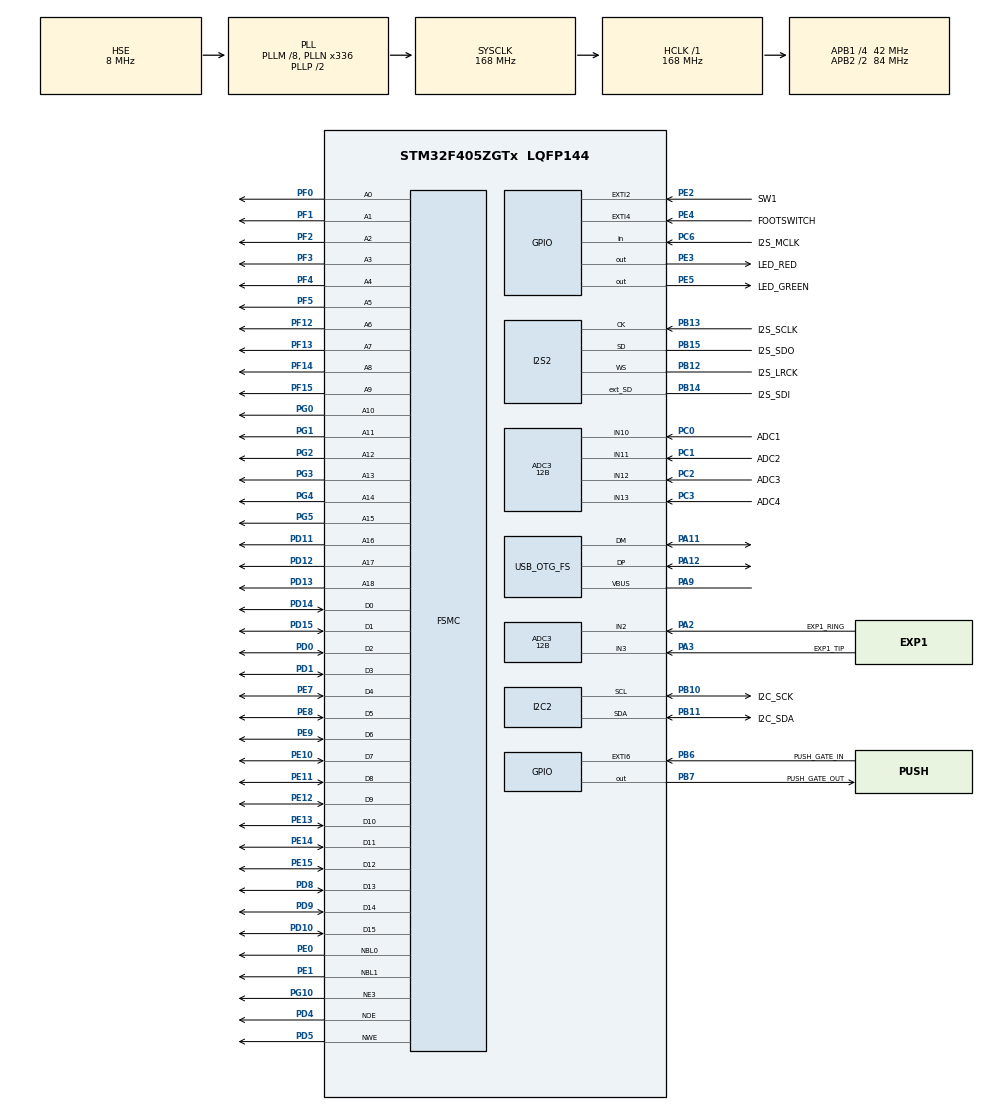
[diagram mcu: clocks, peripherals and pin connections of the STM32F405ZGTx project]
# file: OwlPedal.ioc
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ADC3.Channel-92\#ChannelRegularConversion=ADC_CHANNEL_10
ADC3.Channel-93\#ChannelRegularConversion=ADC_CHANNEL_11
ADC3.Channel-94\#ChannelRegularConversion=ADC_CHANNEL_12
ADC3.Channel-95\#ChannelRegularConversion=ADC_CHANNEL_13
ADC3.Channel-96\#ChannelRegularConversion=ADC_CHANNEL_2
ADC3.Channel-97\#ChannelRegularConversion=ADC_CHANNEL_3
ADC3.ClockPrescaler=ADC_CLOCK_SYNC_PCLK_DIV8
ADC3.ContinuousConvMode=ENABLE
ADC3.DMAContinuousRequests=ENABLE
ADC3.DataAlign=ADC_DATAALIGN_RIGHT
ADC3.DiscontinuousConvMode=DISABLE
ADC3.EOCSelection=ADC_EOC_SEQ_CONV
ADC3.EnableAnalogWatchDog=false
ADC3.ExternalTrigConv=ADC_SOFTWARE_START
ADC3.ExternalTrigConvEdge=ADC_EXTERNALTRIGCONVEDGE_NONE
ADC3.InjNumberOfConversion=0
ADC3.NbrOfConversion=6
ADC3.NbrOfConversionFlag=1
ADC3.Rank-92\#ChannelRegularConversion=1
ADC3.Rank-93\#ChannelRegularConversion=2
ADC3.Rank-94\#ChannelRegularConversion=3
ADC3.Rank-95\#ChannelRegularConversion=4
ADC3.Rank-96\#ChannelRegularConversion=5
ADC3.Rank-97\#ChannelRegularConversion=6
ADC3.Resolution=ADC_RESOLUTION_12B
ADC3.SamplingTime-92\#ChannelRegularConversion=ADC_SAMPLETIME_144CYCLES
ADC3.SamplingTime-93\#ChannelRegularConversion=ADC_SAMPLETIME_144CYCLES
ADC3.SamplingTime-94\#ChannelRegularConversion=ADC_SAMPLETIME_144CYCLES
ADC3.SamplingTime-95\#ChannelRegularConversion=ADC_SAMPLETIME_144CYCLES
ADC3.SamplingTime-96\#ChannelRegularConversion=ADC_SAMPLETIME_144CYCLES
ADC3.SamplingTime-97\#ChannelRegularConversion=ADC_SAMPLETIME_144CYCLES
ADC3.ScanConvMode=ENABLE
Dma.ADC3.2.Direction=DMA_PERIPH_TO_MEMORY
Dma.ADC3.2.FIFOMode=DMA_FIFOMODE_DISABLE
Dma.ADC3.2.Instance=DMA2_Stream0
Dma.ADC3.2.MemDataAlignment=DMA_MDATAALIGN_HALFWORD
Dma.ADC3.2.MemInc=DMA_MINC_ENABLE
Dma.ADC3.2.Mode=DMA_CIRCULAR
Dma.ADC3.2.PeriphDataAlignment=DMA_PDATAALIGN_HALFWORD
Dma.ADC3.2.PeriphInc=DMA_PINC_DISABLE
Dma.ADC3.2.Priority=DMA_PRIORITY_LOW
Dma.I2S2_EXT_RX.1.Direction=DMA_PERIPH_TO_MEMORY
Dma.I2S2_EXT_RX.1.FIFOMode=DMA_FIFOMODE_DISABLE
Dma.I2S2_EXT_RX.1.Instance=DMA1_Stream3
Dma.I2S2_EXT_RX.1.MemDataAlignment=DMA_MDATAALIGN_HALFWORD
Dma.I2S2_EXT_RX.1.MemInc=DMA_MINC_ENABLE
Dma.I2S2_EXT_RX.1.Mode=DMA_CIRCULAR
Dma.I2S2_EXT_RX.1.PeriphDataAlignment=DMA_PDATAALIGN_HALFWORD
Dma.I2S2_EXT_RX.1.PeriphInc=DMA_PINC_DISABLE
Dma.I2S2_EXT_RX.1.Priority=DMA_PRIORITY_HIGH
Dma.Request0=SPI2_TX
Dma.Request1=I2S2_EXT_RX
Dma.Request2=ADC3
Dma.SPI2_TX.0.Direction=DMA_MEMORY_TO_PERIPH
Dma.SPI2_TX.0.FIFOMode=DMA_FIFOMODE_DISABLE
Dma.SPI2_TX.0.Instance=DMA1_Stream4
Dma.SPI2_TX.0.MemDataAlignment=DMA_MDATAALIGN_HALFWORD
Dma.SPI2_TX.0.MemInc=DMA_MINC_ENABLE
Dma.SPI2_TX.0.Mode=DMA_CIRCULAR
Dma.SPI2_TX.0.PeriphDataAlignment=DMA_PDATAALIGN_HALFWORD
Dma.SPI2_TX.0.PeriphInc=DMA_PINC_DISABLE
Dma.SPI2_TX.0.Priority=DMA_PRIORITY_HIGH
FREERTOS.INCLUDE_vTaskDelayUntil=1
FREERTOS.MEMORY_ALLOCATION=2
FREERTOS.Tasks01=defaultTask,0,512,StartDefaultTask,Default,NULL,Dynamic,NULL,NULL
FREERTOS.configCHECK_FOR_STACK_OVERFLOW=1
FREERTOS.configENABLE_BACKWARD_COMPATIBILITY=0
FREERTOS.configTOTAL_HEAP_SIZE=4096
FREERTOS.configUSE_MALLOC_FAILED_HOOK=1
FREERTOS.configUSE_MUTEXES=0
FREERTOS.configUSE_PREEMPTION=0
FSMC.AddressSetupTime1=2
FSMC.BusTurnAroundDuration1=1
FSMC.DataSetupTime1=2
FSMC.ExtendedMode1=FSMC_EXTENDED_MODE_DISABLE
FSMC.WriteOperation1=FSMC_WRITE_OPERATION_ENABLE
I2S2.AudioFreq=I2S_AUDIOFREQ_48K
I2S2.DataFormat=I2S_DATAFORMAT_24B
I2S2.ErrorAudioFreq=-0.01 %
I2S2.FullDuplexMode=I2S_FULLDUPLEXMODE_ENABLE
I2S2.Instance=SPI$Index
I2S2.RealAudioFreq=47.991 KHz
I2S2.VirtualMode=I2S_MODE_SLAVE
Mcu.Family=STM32F4
Mcu.Name=STM32F405ZGTx
Mcu.Package=LQFP144
NVIC.DMA1_Stream3_IRQn=true\:8\:0\:true\:false\:true\:true\:true\:true
NVIC.DMA1_Stream4_IRQn=true\:8\:0\:true\:false\:true\:true\:true\:true
NVIC.DMA2_Stream0_IRQn=true\:5\:0\:false\:false\:true\:true\:true\:true
NVIC.EXTI2_IRQn=true\:10\:0\:true\:false\:true\:true\:true\:true
NVIC.EXTI4_IRQn=true\:5\:0\:false\:false\:true\:true\:true\:true
NVIC.EXTI9_5_IRQn=true\:5\:0\:false\:false\:true\:true\:true\:true
NVIC.OTG_FS_IRQn=true\:5\:0\:false\:false\:true\:true\:true\:true
NVIC.PriorityGroup=NVIC_PRIORITYGROUP_4
NVIC.SPI2_IRQn=true\:8\:0\:true\:false\:true\:true\:true\:true
PA11.Mode=Device_Only
PA11.Signal=USB_OTG_FS_DM
PA12.Mode=Device_Only
PA12.Signal=USB_OTG_FS_DP
PA13.Mode=Trace_Asynchronous_SW
PA13.Signal=SYS_JTMS-SWDIO
PA14.Mode=Trace_Asynchronous_SW
PA14.Signal=SYS_JTCK-SWCLK
PA2.GPIO_Label=EXP1_RING
PA2.Signal=ADCx_IN2
PA3.GPIO_Label=EXP1_TIP
PA3.Signal=ADCx_IN3
PA9.Mode=Activate_VBUS
PA9.Signal=USB_OTG_FS_VBUS
PB10.GPIO_Label=I2C_SCK
PB10.GPIO_Pu=GPIO_PULLUP
PB10.Mode=I2C
PB10.Signal=I2C2_SCL
PB11.GPIO_Label=I2C_SDA
PB11.GPIO_Pu=GPIO_PULLUP
PB11.Mode=I2C
PB11.Signal=I2C2_SDA
PB12.GPIO_Label=I2S_LRCK
PB12.Mode=Full_Duplex_Slave
PB12.Signal=I2S2_WS
PB13.GPIO_Label=I2S_SCLK
PB13.Mode=Full_Duplex_Slave
PB13.Signal=I2S2_CK
PB14.GPIO_Label=I2S_SDI
PB14.Mode=Full_Duplex_Slave
PB14.Signal=I2S2_ext_SD
PB15.GPIO_Label=I2S_SDO
PB15.Mode=Full_Duplex_Slave
PB15.Signal=I2S2_SD
PB3.Mode=Trace_Asynchronous_SW
PB3.Signal=SYS_JTDO-SWO
PB6.GPIO_Label=PUSH_GATE_IN
PB6.GPIO_ModeDefaultEXTI=GPIO_MODE_IT_RISING_FALLING
PB6.GPIO_PuPd=GPIO_PULLUP
PB6.Signal=GPXTI6
PB7.GPIO_Label=PUSH_GATE_OUT
PB7.PinState=GPIO_PIN_SET
PB7.Signal=GPIO_Output
PC0.GPIO_Label=ADC1
PC0.Signal=ADCx_IN10
PC1.GPIO_Label=ADC2
PC1.Signal=ADCx_IN11
PC2.GPIO_Label=ADC3
PC2.Signal=ADCx_IN12
PC3.GPIO_Label=ADC4
PC3.Signal=ADCx_IN13
PC6.GPIO_Label=I2S_MCLK
PC6.Signal=GPIO_Input
PD0.Signal=FSMC_D2_DA2
PD1.Signal=FSMC_D3_DA3
PD10.Signal=FSMC_D15_DA15
PD11.Signal=FSMC_A16_CLE
PD12.Signal=FSMC_A17_ALE
PD13.Signal=FSMC_A18
PD14.Signal=FSMC_D0_DA0
PD15.Signal=FSMC_D1_DA1
PD4.Signal=FSMC_NOE
PD5.Signal=FSMC_NWE
PD8.Signal=FSMC_D13_DA13
PD9.Signal=FSMC_D14_DA14
PE0.Signal=FSMC_NBL0
PE1.Signal=FSMC_NBL1
PE10.Signal=FSMC_D7_DA7
PE11.Signal=FSMC_D8_DA8
PE12.Signal=FSMC_D9_DA9
PE13.Signal=FSMC_D10_DA10
PE14.Signal=FSMC_D11_DA11
PE15.Signal=FSMC_D12_DA12
PE2.GPIO_Label=SW1
PE2.GPIO_ModeDefaultEXTI=GPIO_MODE_IT_RISING_FALLING
PE2.GPIO_PuPd=GPIO_PULLUP
PE2.Signal=GPXTI2
PE3.GPIO_Label=LED_RED
PE3.Signal=GPIO_Output
PE4.GPIO_Label=FOOTSWITCH
PE4.GPIO_ModeDefaultEXTI=GPIO_MODE_IT_RISING_FALLING
PE4.GPIO_PuPd=GPIO_PULLUP
PE4.Signal=GPXTI4
PE5.GPIO_Label=LED_GREEN
PE5.Signal=GPIO_Output
PE7.Signal=FSMC_D4_DA4
PE8.Signal=FSMC_D5_DA5
PE9.Signal=FSMC_D6_DA6
PF0.Signal=FSMC_A0
PF1.Signal=FSMC_A1
PF12.Signal=FSMC_A6
PF13.Signal=FSMC_A7
PF14.Signal=FSMC_A8
PF15.Signal=FSMC_A9
PF2.Signal=FSMC_A2
PF3.Signal=FSMC_A3
PF4.Signal=FSMC_A4
PF5.Signal=FSMC_A5
PG0.Signal=FSMC_A10
PG1.Signal=FSMC_A11
PG10.Mode=NorPsramChipSelect3_1
PG10.Signal=FSMC_NE3
PG2.Signal=FSMC_A12
PG3.Signal=FSMC_A13
PG4.Signal=FSMC_A14
PG5.Signal=FSMC_A15
PH0-OSC_IN.Mode=HSE-External-Oscillator
PH0-OSC_IN.Signal=RCC_OSC_IN
PH1-OSC_OUT.Mode=HSE-External-Oscillator
PH1-OSC_OUT.Signal=RCC_OSC_OUT
ProjectManager.HeapSize=0x200
ProjectManager.StackSize=0x400
ProjectManager.TargetToolchain=Makefile
RCC.48MHZClocksFreq_Value=48000000
RCC.AHBFreq_Value=168000000
RCC.APB1CLKDivider=RCC_HCLK_DIV4
RCC.APB1Freq_Value=42000000
RCC.APB1TimFreq_Value=84000000
RCC.APB2CLKDivider=RCC_HCLK_DIV2
RCC.APB2Freq_Value=84000000
RCC.APB2TimFreq_Value=168000000
RCC.CortexFreq_Value=168000000
RCC.HCLKFreq_Value=168000000
RCC.HSE_VALUE=8000000
RCC.HSI_VALUE=16000000
RCC.LSE_VALUE=32768
RCC.PLLI2SN=258
RCC.PLLI2SR=3
RCC.PLLM=8
RCC.PLLN=336
RCC.PLLQ=7
RCC.SYSCLKFreq_VALUE=168000000
RCC.SYSCLKSource=RCC_SYSCLKSOURCE_PLLCLK
RCC.VCOOutputFreq_Value=336000000
SH.ADCx_IN10.0=ADC3_IN10,IN10
SH.ADCx_IN11.0=ADC3_IN11,IN11
SH.ADCx_IN12.0=ADC3_IN12,IN12
SH.ADCx_IN13.0=ADC3_IN13,IN13
SH.ADCx_IN2.0=ADC3_IN2,IN2
SH.ADCx_IN3.0=ADC3_IN3,IN3
SH.FSMC_A0.0=FSMC_A0,19b-a1
SH.FSMC_A1.0=FSMC_A1,19b-a1
SH.FSMC_A10.0=FSMC_A10,19b-a1
SH.FSMC_A11.0=FSMC_A11,19b-a1
SH.FSMC_A12.0=FSMC_A12,19b-a1
SH.FSMC_A13.0=FSMC_A13,19b-a1
SH.FSMC_A14.0=FSMC_A14,19b-a1
SH.FSMC_A15.0=FSMC_A15,19b-a1
SH.FSMC_A16_CLE.0=FSMC_A16,19b-a1
SH.FSMC_A17_ALE.0=FSMC_A17,19b-a1
SH.FSMC_A18.0=FSMC_A18,19b-a1
SH.FSMC_A2.0=FSMC_A2,19b-a1
SH.FSMC_A3.0=FSMC_A3,19b-a1
SH.FSMC_A4.0=FSMC_A4,19b-a1
SH.FSMC_A5.0=FSMC_A5,19b-a1
SH.FSMC_A6.0=FSMC_A6,19b-a1
SH.FSMC_A7.0=FSMC_A7,19b-a1
SH.FSMC_A8.0=FSMC_A8,19b-a1
SH.FSMC_A9.0=FSMC_A9,19b-a1
SH.FSMC_D0_DA0.0=FSMC_D0,16b-d1
SH.FSMC_D10_DA10.0=FSMC_D10,16b-d1
SH.FSMC_D11_DA11.0=FSMC_D11,16b-d1
SH.FSMC_D12_DA12.0=FSMC_D12,16b-d1
SH.FSMC_D13_DA13.0=FSMC_D13,16b-d1
SH.FSMC_D14_DA14.0=FSMC_D14,16b-d1
SH.FSMC_D15_DA15.0=FSMC_D15,16b-d1
SH.FSMC_D1_DA1.0=FSMC_D1,16b-d1
SH.FSMC_D2_DA2.0=FSMC_D2,16b-d1
SH.FSMC_D3_DA3.0=FSMC_D3,16b-d1
SH.FSMC_D4_DA4.0=FSMC_D4,16b-d1
SH.FSMC_D5_DA5.0=FSMC_D5,16b-d1
SH.FSMC_D6_DA6.0=FSMC_D6,16b-d1
SH.FSMC_D7_DA7.0=FSMC_D7,16b-d1
SH.FSMC_D8_DA8.0=FSMC_D8,16b-d1
SH.FSMC_D9_DA9.0=FSMC_D9,16b-d1
SH.FSMC_NBL0.0=FSMC_NBL0,2ByteEnable1
SH.FSMC_NBL1.0=FSMC_NBL1,2ByteEnable1
SH.FSMC_NOE.0=FSMC_NOE,Sram1
SH.FSMC_NWE.0=FSMC_NWE,Sram1
USB_OTG_FS.VirtualMode=Device_Only
VP_FREERTOS_VS_CMSIS_V1.Mode=CMSIS_V1
board=OwlPedal

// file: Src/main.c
/* USER CODE BEGIN Header */
/**
  * @brief  Function implementing the defaultTask thread.
  * @param  argument: Not used
  * @retval None
  */
/* USER CODE END Header */
#include "main.h"
#include "cmsis_os.h"

/* USER CODE BEGIN Includes */

void setup();
void loop(void);

/* USER CODE END Includes */

ADC_HandleTypeDef hadc3;
DMA_HandleTypeDef hdma_adc3;

I2C_HandleTypeDef hi2c2;

I2S_HandleTypeDef hi2s2;
DMA_HandleTypeDef hdma_spi2_tx;
DMA_HandleTypeDef hdma_i2s2_ext_rx;

PCD_HandleTypeDef hpcd_USB_OTG_FS;

SRAM_HandleTypeDef hsram1;

osThreadId defaultTaskHandle;
/* USER CODE BEGIN PV */
/* Private variables ---------------------------------------------------------*/

/* USER CODE END PV */

void SystemClock_Config(void);
static void MX_GPIO_Init(void);
static void MX_DMA_Init(void);
static void MX_I2S2_Init(void);
static void MX_ADC3_Init(void);
static void MX_I2C2_Init(void);
static void MX_FSMC_Init(void);
static void MX_USB_OTG_FS_PCD_Init(void);
void StartDefaultTask(void const * argument);

/* USER CODE BEGIN PFP */
/* Private function prototypes -----------------------------------------------*/

static void SDRAM_Init(void){
    /*##-1- Configure the SRAM device ##########################################*/
  /* SRAM device configuration */
  hsram1.Instance  = FSMC_NORSRAM_DEVICE;
  hsram1.Extended  = FSMC_NORSRAM_EXTENDED_DEVICE;

  FSMC_NORSRAM_TimingTypeDef Timing;

  Timing.AddressSetupTime       = 2;
  Timing.AddressHoldTime        = 1;
  Timing.DataSetupTime          = 2;
  Timing.BusTurnAroundDuration  = 1;
  Timing.CLKDivision            = 2;
  Timing.DataLatency            = 2;
  Timing.AccessMode             = FSMC_ACCESS_MODE_A;

  hsram1.Init.NSBank             = FSMC_NORSRAM_BANK3;
  hsram1.Init.DataAddressMux     = FSMC_DATA_ADDRESS_MUX_DISABLE;
  hsram1.Init.MemoryType         = FSMC_MEMORY_TYPE_SRAM;
  hsram1.Init.MemoryDataWidth    = FSMC_NORSRAM_MEM_BUS_WIDTH_16;// = SRAM_MEMORY_WIDTH;
  hsram1.Init.BurstAccessMode    = FSMC_BURST_ACCESS_MODE_DISABLE;
  hsram1.Init.WaitSignalPolarity = FSMC_WAIT_SIGNAL_POLARITY_LOW;
  hsram1.Init.WrapMode           = FSMC_WRAP_MODE_DISABLE;
  hsram1.Init.WaitSignalActive   = FSMC_WAIT_TIMING_BEFORE_WS;
  hsram1.Init.WriteOperation     = FSMC_WRITE_OPERATION_ENABLE;
  hsram1.Init.WaitSignal         = FSMC_WAIT_SIGNAL_DISABLE;
  hsram1.Init.ExtendedMode       = FSMC_EXTENDED_MODE_DISABLE;
  hsram1.Init.AsynchronousWait   = FSMC_ASYNCHRONOUS_WAIT_DISABLE;
  hsram1.Init.WriteBurst         = FSMC_WRITE_BURST_DISABLE;

  if (HAL_SRAM_Init(&hsram1, &Timing, NULL) != HAL_OK)
  {
    Error_Handler();
  }
}

void SystemInit_ExtMemCtl(void)
{
  __HAL_RCC_FSMC_CLK_ENABLE();
  __HAL_RCC_GPIOD_CLK_ENABLE();
  __HAL_RCC_GPIOE_CLK_ENABLE();
  __HAL_RCC_GPIOF_CLK_ENABLE();
  __HAL_RCC_GPIOG_CLK_ENABLE();

  GPIO_InitTypeDef GPIO_InitStruct;
  GPIO_InitStruct.Mode = GPIO_MODE_AF_PP;
  GPIO_InitStruct.Pull = GPIO_NOPULL;
  GPIO_InitStruct.Speed = GPIO_SPEED_FREQ_VERY_HIGH;
  GPIO_InitStruct.Alternate = GPIO_AF12_FSMC;

  /* GPIOD configuration */
  GPIO_InitStruct.Pin = GPIO_PIN_0  | GPIO_PIN_1  | GPIO_PIN_4  | GPIO_PIN_5  |
    GPIO_PIN_8  | GPIO_PIN_9  | GPIO_PIN_10 | GPIO_PIN_11 |
    GPIO_PIN_12 | GPIO_PIN_13 | GPIO_PIN_14 | GPIO_PIN_15;
  HAL_GPIO_Init(GPIOD, &GPIO_InitStruct);

  /* GPIOE configuration */
  GPIO_InitStruct.Pin = GPIO_PIN_0  | GPIO_PIN_1  | GPIO_PIN_2  | GPIO_PIN_3 |
    GPIO_PIN_4  | GPIO_PIN_5  | GPIO_PIN_6  | GPIO_PIN_7 |
    GPIO_PIN_8  | GPIO_PIN_9  | GPIO_PIN_10 | GPIO_PIN_11|
    GPIO_PIN_12 | GPIO_PIN_13 | GPIO_PIN_14 | GPIO_PIN_15;
  HAL_GPIO_Init(GPIOE, &GPIO_InitStruct);

  /* GPIOF configuration */
  GPIO_InitStruct.Pin = GPIO_PIN_0  | GPIO_PIN_1  | GPIO_PIN_2  | GPIO_PIN_3  |
    GPIO_PIN_4  | GPIO_PIN_5  | GPIO_PIN_12 | GPIO_PIN_13 |
    GPIO_PIN_14 | GPIO_PIN_15;
  HAL_GPIO_Init(GPIOF, &GPIO_InitStruct);

  /* GPIOG configuration */
  GPIO_InitStruct.Pin = GPIO_PIN_0  | GPIO_PIN_1  | GPIO_PIN_2  | GPIO_PIN_3 |
    GPIO_PIN_4  | GPIO_PIN_5  | GPIO_PIN_10;
  /*                                 GPIO_Pin_4  | GPIO_Pin_5  |GPIO_Pin_9;       */
  HAL_GPIO_Init(GPIOG, &GPIO_InitStruct);
}

/* USER CODE END PFP */

int main(void)
{

  /* MCU Configuration--------------------------------------------------------*/

  /* Reset of all peripherals, Initializes the Flash interface and the Systick. */
  HAL_Init();

  /* Configure the system clock */
  SystemClock_Config();

  /* USER CODE BEGIN SysInit */
  SystemInit_ExtMemCtl();
  /* USER CODE END SysInit */

  /* Initialize all configured peripherals */
  MX_GPIO_Init();
  MX_DMA_Init();
  MX_I2S2_Init();
  MX_ADC3_Init();
  MX_I2C2_Init();
  MX_FSMC_Init();
  MX_USB_OTG_FS_PCD_Init();
  /* USER CODE BEGIN 2 */

  SDRAM_Init();

  // Initialise
  setup();

  /* USER CODE END 2 */

  /* Create the thread(s) */
  /* definition and creation of defaultTask */
  osThreadDef(defaultTask, StartDefaultTask, osPriorityNormal, 0, 512);
  defaultTaskHandle = osThreadCreate(osThread(defaultTask), NULL);

  /* Start scheduler */
  osKernelStart();

  /* We should never get here as control is now taken by the scheduler */
  /* Infinite loop */
  while (1)
  {

  }
}

void SystemClock_Config(void)
{
  RCC_OscInitTypeDef RCC_OscInitStruct = {0};
  RCC_ClkInitTypeDef RCC_ClkInitStruct = {0};

  /** Configure the main internal regulator output voltage
  */
  __HAL_RCC_PWR_CLK_ENABLE();
  __HAL_PWR_VOLTAGESCALING_CONFIG(PWR_REGULATOR_VOLTAGE_SCALE1);
  /** Initializes the RCC Oscillators according to the specified parameters
  * in the RCC_OscInitTypeDef structure.
  */
  RCC_OscInitStruct.OscillatorType = RCC_OSCILLATORTYPE_HSE;
  RCC_OscInitStruct.HSEState = RCC_HSE_ON;
  RCC_OscInitStruct.PLL.PLLState = RCC_PLL_ON;
  RCC_OscInitStruct.PLL.PLLSource = RCC_PLLSOURCE_HSE;
  RCC_OscInitStruct.PLL.PLLM = 8;
  RCC_OscInitStruct.PLL.PLLN = 336;
  RCC_OscInitStruct.PLL.PLLP = RCC_PLLP_DIV2;
  RCC_OscInitStruct.PLL.PLLQ = 7;
  if (HAL_RCC_OscConfig(&RCC_OscInitStruct) != HAL_OK)
  {
    Error_Handler();
  }
  /** Initializes the CPU, AHB and APB buses clocks
  */
  RCC_ClkInitStruct.ClockType = RCC_CLOCKTYPE_HCLK|RCC_CLOCKTYPE_SYSCLK
                              |RCC_CLOCKTYPE_PCLK1|RCC_CLOCKTYPE_PCLK2;
  RCC_ClkInitStruct.SYSCLKSource = RCC_SYSCLKSOURCE_PLLCLK;
  RCC_ClkInitStruct.AHBCLKDivider = RCC_SYSCLK_DIV1;
  RCC_ClkInitStruct.APB1CLKDivider = RCC_HCLK_DIV4;
  RCC_ClkInitStruct.APB2CLKDivider = RCC_HCLK_DIV2;

  if (HAL_RCC_ClockConfig(&RCC_ClkInitStruct, FLASH_LATENCY_5) != HAL_OK)
  {
    Error_Handler();
  }
}

static void MX_ADC3_Init(void)
{

  ADC_ChannelConfTypeDef sConfig = {0};

  /** Configure the global features of the ADC (Clock, Resolution, Data Alignment and number of conversion)
  */
  hadc3.Instance = ADC3;
  hadc3.Init.ClockPrescaler = ADC_CLOCK_SYNC_PCLK_DIV8;
  hadc3.Init.Resolution = ADC_RESOLUTION_12B;
  hadc3.Init.ScanConvMode = ENABLE;
  hadc3.Init.ContinuousConvMode = ENABLE;
  hadc3.Init.DiscontinuousConvMode = DISABLE;
  hadc3.Init.ExternalTrigConvEdge = ADC_EXTERNALTRIGCONVEDGE_NONE;
  hadc3.Init.ExternalTrigConv = ADC_SOFTWARE_START;
  hadc3.Init.DataAlign = ADC_DATAALIGN_RIGHT;
  hadc3.Init.NbrOfConversion = 6;
  hadc3.Init.DMAContinuousRequests = ENABLE;
  hadc3.Init.EOCSelection = ADC_EOC_SEQ_CONV;
  if (HAL_ADC_Init(&hadc3) != HAL_OK)
  {
    Error_Handler();
  }
  /** Configure for the selected ADC regular channel its corresponding rank in the sequencer and its sample time.
  */
  sConfig.Channel = ADC_CHANNEL_10;
  sConfig.Rank = 1;
  sConfig.SamplingTime = ADC_SAMPLETIME_144CYCLES;
  if (HAL_ADC_ConfigChannel(&hadc3, &sConfig) != HAL_OK)
  {
    Error_Handler();
  }
  /** Configure for the selected ADC regular channel its corresponding rank in the sequencer and its sample time.
  */
  sConfig.Channel = ADC_CHANNEL_11;
  sConfig.Rank = 2;
  if (HAL_ADC_ConfigChannel(&hadc3, &sConfig) != HAL_OK)
  {
    Error_Handler();
  }
  /** Configure for the selected ADC regular channel its corresponding rank in the sequencer and its sample time.
  */
  sConfig.Channel = ADC_CHANNEL_12;
  sConfig.Rank = 3;
  if (HAL_ADC_ConfigChannel(&hadc3, &sConfig) != HAL_OK)
  {
    Error_Handler();
  }
  /** Configure for the selected ADC regular channel its corresponding rank in the sequencer and its sample time.
  */
  sConfig.Channel = ADC_CHANNEL_13;
  sConfig.Rank = 4;
  if (HAL_ADC_ConfigChannel(&hadc3, &sConfig) != HAL_OK)
  {
    Error_Handler();
  }
  /** Configure for the selected ADC regular channel its corresponding rank in the sequencer and its sample time.
  */
  sConfig.Channel = ADC_CHANNEL_2;
  sConfig.Rank = 5;
  if (HAL_ADC_ConfigChannel(&hadc3, &sConfig) != HAL_OK)
  {
    Error_Handler();
  }
  /** Configure for the selected ADC regular channel its corresponding rank in the sequencer and its sample time.
  */
  sConfig.Channel = ADC_CHANNEL_3;
  sConfig.Rank = 6;
  if (HAL_ADC_ConfigChannel(&hadc3, &sConfig) != HAL_OK)
  {
    Error_Handler();
  }

}

static void MX_I2C2_Init(void)
{

  hi2c2.Instance = I2C2;
  hi2c2.Init.ClockSpeed = 100000;
  hi2c2.Init.DutyCycle = I2C_DUTYCYCLE_2;
  hi2c2.Init.OwnAddress1 = 0;
  hi2c2.Init.AddressingMode = I2C_ADDRESSINGMODE_7BIT;
  hi2c2.Init.DualAddressMode = I2C_DUALADDRESS_DISABLE;
  hi2c2.Init.OwnAddress2 = 0;
  hi2c2.Init.GeneralCallMode = I2C_GENERALCALL_DISABLE;
  hi2c2.Init.NoStretchMode = I2C_NOSTRETCH_DISABLE;
  if (HAL_I2C_Init(&hi2c2) != HAL_OK)
  {
    Error_Handler();
  }

}

static void MX_I2S2_Init(void)
{

  hi2s2.Instance = SPI2;
  hi2s2.Init.Mode = I2S_MODE_SLAVE_TX;
  hi2s2.Init.Standard = I2S_STANDARD_PHILIPS;
  hi2s2.Init.DataFormat = I2S_DATAFORMAT_24B;
  hi2s2.Init.MCLKOutput = I2S_MCLKOUTPUT_DISABLE;
  hi2s2.Init.AudioFreq = I2S_AUDIOFREQ_48K;
  hi2s2.Init.CPOL = I2S_CPOL_LOW;
  hi2s2.Init.ClockSource = I2S_CLOCK_PLL;
  hi2s2.Init.FullDuplexMode = I2S_FULLDUPLEXMODE_ENABLE;
  if (HAL_I2S_Init(&hi2s2) != HAL_OK)
  {
    Error_Handler();
  }

}

static void MX_USB_OTG_FS_PCD_Init(void)
{

  hpcd_USB_OTG_FS.Instance = USB_OTG_FS;
  hpcd_USB_OTG_FS.Init.dev_endpoints = 4;
  hpcd_USB_OTG_FS.Init.speed = PCD_SPEED_FULL;
  hpcd_USB_OTG_FS.Init.dma_enable = DISABLE;
  hpcd_USB_OTG_FS.Init.phy_itface = PCD_PHY_EMBEDDED;
  hpcd_USB_OTG_FS.Init.Sof_enable = DISABLE;
  hpcd_USB_OTG_FS.Init.low_power_enable = DISABLE;
  hpcd_USB_OTG_FS.Init.lpm_enable = DISABLE;
  hpcd_USB_OTG_FS.Init.vbus_sensing_enable = ENABLE;
  hpcd_USB_OTG_FS.Init.use_dedicated_ep1 = DISABLE;
  if (HAL_PCD_Init(&hpcd_USB_OTG_FS) != HAL_OK)
  {
    Error_Handler();
  }

}

static void MX_DMA_Init(void)
{

  /* DMA controller clock enable */
  __HAL_RCC_DMA1_CLK_ENABLE();
  __HAL_RCC_DMA2_CLK_ENABLE();

  /* DMA interrupt init */
  /* DMA1_Stream3_IRQn interrupt configuration */
  HAL_NVIC_SetPriority(DMA1_Stream3_IRQn, 8, 0);
  HAL_NVIC_EnableIRQ(DMA1_Stream3_IRQn);
  /* DMA1_Stream4_IRQn interrupt configuration */
  HAL_NVIC_SetPriority(DMA1_Stream4_IRQn, 8, 0);
  HAL_NVIC_EnableIRQ(DMA1_Stream4_IRQn);
  /* DMA2_Stream0_IRQn interrupt configuration */
  HAL_NVIC_SetPriority(DMA2_Stream0_IRQn, 5, 0);
  HAL_NVIC_EnableIRQ(DMA2_Stream0_IRQn);

}

static void MX_GPIO_Init(void)
{
  GPIO_InitTypeDef GPIO_InitStruct = {0};

  /* GPIO Ports Clock Enable */
  __HAL_RCC_GPIOE_CLK_ENABLE();
  __HAL_RCC_GPIOC_CLK_ENABLE();
  __HAL_RCC_GPIOF_CLK_ENABLE();
  __HAL_RCC_GPIOH_CLK_ENABLE();
  __HAL_RCC_GPIOA_CLK_ENABLE();
  __HAL_RCC_GPIOB_CLK_ENABLE();
  __HAL_RCC_GPIOG_CLK_ENABLE();
  __HAL_RCC_GPIOD_CLK_ENABLE();

  /*Configure GPIO pin Output Level */
  HAL_GPIO_WritePin(GPIOE, LED_RED_Pin|LED_GREEN_Pin, GPIO_PIN_RESET);

  /*Configure GPIO pin Output Level */
  HAL_GPIO_WritePin(PUSH_GATE_OUT_GPIO_Port, PUSH_GATE_OUT_Pin, GPIO_PIN_SET);

  /*Configure GPIO pins : SW1_Pin FOOTSWITCH_Pin */
  GPIO_InitStruct.Pin = SW1_Pin|FOOTSWITCH_Pin;
  GPIO_InitStruct.Mode = GPIO_MODE_IT_RISING_FALLING;
  GPIO_InitStruct.Pull = GPIO_PULLUP;
  HAL_GPIO_Init(GPIOE, &GPIO_InitStruct);

  /*Configure GPIO pins : LED_RED_Pin LED_GREEN_Pin */
  GPIO_InitStruct.Pin = LED_RED_Pin|LED_GREEN_Pin;
  GPIO_InitStruct.Mode = GPIO_MODE_OUTPUT_PP;
  GPIO_InitStruct.Pull = GPIO_NOPULL;
  GPIO_InitStruct.Speed = GPIO_SPEED_FREQ_LOW;
  HAL_GPIO_Init(GPIOE, &GPIO_InitStruct);

  /*Configure GPIO pin : PE6 */
  GPIO_InitStruct.Pin = GPIO_PIN_6;
  GPIO_InitStruct.Mode = GPIO_MODE_ANALOG;
  GPIO_InitStruct.Pull = GPIO_NOPULL;
  HAL_GPIO_Init(GPIOE, &GPIO_InitStruct);

  /*Configure GPIO pins : PC13 PC14 PC15 PC4
                           PC5 PC7 PC8 PC9
                           PC10 PC11 PC12 */
  GPIO_InitStruct.Pin = GPIO_PIN_13|GPIO_PIN_14|GPIO_PIN_15|GPIO_PIN_4
                          |GPIO_PIN_5|GPIO_PIN_7|GPIO_PIN_8|GPIO_PIN_9
                          |GPIO_PIN_10|GPIO_PIN_11|GPIO_PIN_12;
  GPIO_InitStruct.Mode = GPIO_MODE_ANALOG;
  GPIO_InitStruct.Pull = GPIO_NOPULL;
  HAL_GPIO_Init(GPIOC, &GPIO_InitStruct);

  /*Configure GPIO pins : PF6 PF7 PF8 PF9
                           PF10 PF11 */
  GPIO_InitStruct.Pin = GPIO_PIN_6|GPIO_PIN_7|GPIO_PIN_8|GPIO_PIN_9
                          |GPIO_PIN_10|GPIO_PIN_11;
  GPIO_InitStruct.Mode = GPIO_MODE_ANALOG;
  GPIO_InitStruct.Pull = GPIO_NOPULL;
  HAL_GPIO_Init(GPIOF, &GPIO_InitStruct);

  /*Configure GPIO pins : PA0 PA1 PA4 PA5
                           PA6 PA7 PA8 PA10
                           PA15 */
  GPIO_InitStruct.Pin = GPIO_PIN_0|GPIO_PIN_1|GPIO_PIN_4|GPIO_PIN_5
                          |GPIO_PIN_6|GPIO_PIN_7|GPIO_PIN_8|GPIO_PIN_10
                          |GPIO_PIN_15;
  GPIO_InitStruct.Mode = GPIO_MODE_ANALOG;
  GPIO_InitStruct.Pull = GPIO_NOPULL;
  HAL_GPIO_Init(GPIOA, &GPIO_InitStruct);

  /*Configure GPIO pins : PB0 PB1 PB2 PB4
                           PB5 PB8 PB9 */
  GPIO_InitStruct.Pin = GPIO_PIN_0|GPIO_PIN_1|GPIO_PIN_2|GPIO_PIN_4
                          |GPIO_PIN_5|GPIO_PIN_8|GPIO_PIN_9;
  GPIO_InitStruct.Mode = GPIO_MODE_ANALOG;
  GPIO_InitStruct.Pull = GPIO_NOPULL;
  HAL_GPIO_Init(GPIOB, &GPIO_InitStruct);

  /*Configure GPIO pins : PG6 PG7 PG8 PG9
                           PG11 PG12 PG13 PG14
                           PG15 */
  GPIO_InitStruct.Pin = GPIO_PIN_6|GPIO_PIN_7|GPIO_PIN_8|GPIO_PIN_9
                          |GPIO_PIN_11|GPIO_PIN_12|GPIO_PIN_13|GPIO_PIN_14
                          |GPIO_PIN_15;
  GPIO_InitStruct.Mode = GPIO_MODE_ANALOG;
  GPIO_InitStruct.Pull = GPIO_NOPULL;
  HAL_GPIO_Init(GPIOG, &GPIO_InitStruct);

  /*Configure GPIO pin : I2S_MCLK_Pin */
  GPIO_InitStruct.Pin = I2S_MCLK_Pin;
  GPIO_InitStruct.Mode = GPIO_MODE_INPUT;
  GPIO_InitStruct.Pull = GPIO_NOPULL;
  HAL_GPIO_Init(I2S_MCLK_GPIO_Port, &GPIO_InitStruct);

  /*Configure GPIO pins : PD2 PD3 PD6 PD7 */
  GPIO_InitStruct.Pin = GPIO_PIN_2|GPIO_PIN_3|GPIO_PIN_6|GPIO_PIN_7;
  GPIO_InitStruct.Mode = GPIO_MODE_ANALOG;
  GPIO_InitStruct.Pull = GPIO_NOPULL;
  HAL_GPIO_Init(GPIOD, &GPIO_InitStruct);

  /*Configure GPIO pin : PUSH_GATE_IN_Pin */
  GPIO_InitStruct.Pin = PUSH_GATE_IN_Pin;
  GPIO_InitStruct.Mode = GPIO_MODE_IT_RISING_FALLING;
  GPIO_InitStruct.Pull = GPIO_PULLUP;
  HAL_GPIO_Init(PUSH_GATE_IN_GPIO_Port, &GPIO_InitStruct);

  /*Configure GPIO pin : PUSH_GATE_OUT_Pin */
  GPIO_InitStruct.Pin = PUSH_GATE_OUT_Pin;
  GPIO_InitStruct.Mode = GPIO_MODE_OUTPUT_PP;
  GPIO_InitStruct.Pull = GPIO_NOPULL;
  GPIO_InitStruct.Speed = GPIO_SPEED_FREQ_LOW;
  HAL_GPIO_Init(PUSH_GATE_OUT_GPIO_Port, &GPIO_InitStruct);

  /* EXTI interrupt init*/
  HAL_NVIC_SetPriority(EXTI2_IRQn, 10, 0);
  HAL_NVIC_EnableIRQ(EXTI2_IRQn);

  HAL_NVIC_SetPriority(EXTI4_IRQn, 5, 0);
  HAL_NVIC_EnableIRQ(EXTI4_IRQn);

  HAL_NVIC_SetPriority(EXTI9_5_IRQn, 5, 0);
  HAL_NVIC_EnableIRQ(EXTI9_5_IRQn);

}

/* FSMC initialization function */
static void MX_FSMC_Init(void)
{

  FSMC_NORSRAM_TimingTypeDef Timing = {0};

  /** Perform the SRAM1 memory initialization sequence
  */
  hsram1.Instance = FSMC_NORSRAM_DEVICE;
  hsram1.Extended = FSMC_NORSRAM_EXTENDED_DEVICE;
  /* hsram1.Init */
  hsram1.Init.NSBank = FSMC_NORSRAM_BANK3;
  hsram1.Init.DataAddressMux = FSMC_DATA_ADDRESS_MUX_DISABLE;
  hsram1.Init.MemoryType = FSMC_MEMORY_TYPE_SRAM;
  hsram1.Init.MemoryDataWidth = FSMC_NORSRAM_MEM_BUS_WIDTH_16;
  hsram1.Init.BurstAccessMode = FSMC_BURST_ACCESS_MODE_DISABLE;
  hsram1.Init.WaitSignalPolarity = FSMC_WAIT_SIGNAL_POLARITY_LOW;
  hsram1.Init.WrapMode = FSMC_WRAP_MODE_DISABLE;
  hsram1.Init.WaitSignalActive = FSMC_WAIT_TIMING_BEFORE_WS;
  hsram1.Init.WriteOperation = FSMC_WRITE_OPERATION_ENABLE;
  hsram1.Init.WaitSignal = FSMC_WAIT_SIGNAL_DISABLE;
  hsram1.Init.ExtendedMode = FSMC_EXTENDED_MODE_DISABLE;
  hsram1.Init.AsynchronousWait = FSMC_ASYNCHRONOUS_WAIT_DISABLE;
  hsram1.Init.WriteBurst = FSMC_WRITE_BURST_DISABLE;
  hsram1.Init.PageSize = FSMC_PAGE_SIZE_NONE;
  /* Timing */
  Timing.AddressSetupTime = 2;
  Timing.AddressHoldTime = 15;
  Timing.DataSetupTime = 2;
  Timing.BusTurnAroundDuration = 1;
  Timing.CLKDivision = 16;
  Timing.DataLatency = 17;
  Timing.AccessMode = FSMC_ACCESS_MODE_A;
  /* ExtTiming */

  if (HAL_SRAM_Init(&hsram1, &Timing, NULL) != HAL_OK)
  {
    Error_Handler( );
  }

}

void StartDefaultTask(void const * argument)
{
  /* USER CODE BEGIN 5 */
  /* Infinite loop */
  for(;;)
  {
    loop();
    /* osDelay(1); */
  }
  /* USER CODE END 5 */
}

void Error_Handler(void)
{
  /* USER CODE BEGIN Error_Handler_Debug */
  /* User can add his own implementation to report the HAL error return state */
#ifdef DEBUG
  __asm__("BKPT");
#else
  NVIC_SystemReset();
#endif
  /* USER CODE END Error_Handler_Debug */
}

#ifdef  USE_FULL_ASSERT
/**
  * @brief  Reports the name of the source file and the source line number
  *         where the assert_param error has occurred.
  * @param  file: pointer to the source file name
  * @param  line: assert_param error line source number
  * @retval None
  */
void assert_failed(uint8_t *file, uint32_t line)
{
  /* USER CODE BEGIN 6 */
  /* User can add his own implementation to report the file name and line number,
    ex: printf("Wrong parameters value: file %s on line %d\r\n", file, line) */
#ifdef DEBUG
  __asm__("BKPT");
#else
  NVIC_SystemReset();
#endif
  /* USER CODE END 6 */
}
#endif /* USE_FULL_ASSERT */

/************************ (C) COPYRIGHT STMicroelectronics *****END OF FILE****/
